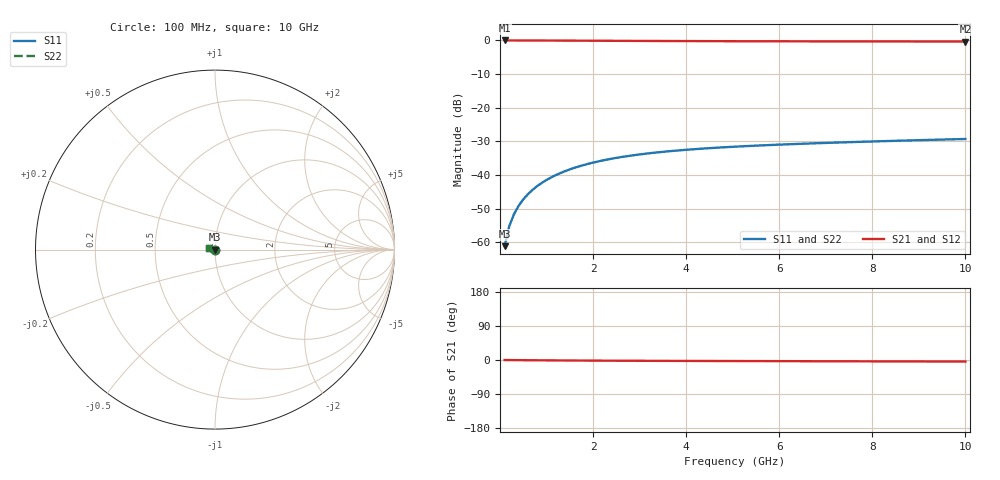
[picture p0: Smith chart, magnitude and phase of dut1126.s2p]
! Touchstone file exported from HFSS 2024.1.0
!  File:  C:/UserFiles/LocalFiles/RDL_TSV_Batchsim/temp_TSV1_1126_1780069667.aedt
!  Generated:  11:52:33 PM May 29, 2026
!  Design:  TSV1
!  Project:  temp_TSV1_1126_1780069667
!  Setup:  Setup1
!  Solution:  Sweep
! Variables:
!  dtsv = 9.59um
!  hbump = 3um
!  htsv = 60.8um
!  lrdl = 252.1521522um
!  p = 40
!  p1 = 53.12um
!  t = 500um
!  trdl = 3um
!  wrdl = 24.89489489um
# GHz S MA R 50.000000
! Terminal data exported
! Port[1] = TSV22_T1
! Port[2] = TSV22_T2
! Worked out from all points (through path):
!   100 points, 100 MHz to 10 GHz, reference 50 ohm
!   highest |S21| = 0.00 dB at 100 MHz (marker M1); lowest = -0.3 dB at 10 GHz (marker M2)
!   lowest |S11| = -61.1 dB at 100 MHz (marker M3), VSWR 1.00, Z = 50 - j0.0874 ohm
!   |S11| at or under -10 dB: start of sweep to end of sweep
!   |S22| runs from -61.1 to -29.3 dB; largest |S21 - S12| = 1e-14
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0.1  0.0008799 -83.2  0.9998 -0.1  0.9998 -0.1  0.0008799 -83.2
! Gamma 0 0 0 0
! Port Impedance 50 0 50 0
0.2  0.001749 -89.4  0.9997 -0.2  0.9997 -0.2  0.001749 -89.4
0.3  0.002621 -92.8  0.9996 -0.3  0.9996 -0.3  0.002621 -92.8
0.4  0.003488 -95.6  0.9993 -0.4  0.9993 -0.4  0.003488 -95.6
0.5  0.004348 -98.0  0.999 -0.5  0.999 -0.5  0.004348 -98.0
0.6  0.005197 -100.3  0.9987 -0.6  0.9987 -0.6  0.005197 -100.3
0.7  0.006035 -102.5  0.9983 -0.7  0.9983 -0.7  0.006035 -102.5
0.8  0.006859 -104.6  0.9979 -0.8  0.9979 -0.8  0.006859 -104.6
0.9  0.007668 -106.6  0.9974 -0.8  0.9974 -0.8  0.007668 -106.6
1.1  0.009235 -110.6  0.9964 -1.0  0.9964 -1.0  0.009235 -110.6
1.4  0.01145 -116.2  0.9945 -1.2  0.9945 -1.2  0.01145 -116.2
1.6  0.01282 -119.8  0.9932 -1.4  0.9932 -1.4  0.01282 -119.8
1.8  0.01412 -123.2  0.9918 -1.5  0.9918 -1.5  0.01412 -123.2
2.1  0.01591 -128.1  0.9897 -1.7  0.9897 -1.7  0.01591 -128.1
2.5  0.01802 -134.1  0.987 -1.9  0.987 -1.9  0.01802 -134.1
2.9  0.01985 -139.6  0.9844 -2.1  0.9844 -2.1  0.01985 -139.6
3.4  0.0218 -145.9  0.9814 -2.3  0.9814 -2.3  0.0218 -145.9
4.2  0.02432 -154.6  0.9774 -2.5  0.9774 -2.5  0.02432 -154.6
5.1  0.02654 -162.9  0.9738 -2.8  0.9738 -2.8  0.02654 -162.9
6.7  0.02957 -175.0  0.9694 -3.2  0.9694 -3.2  0.02957 -175.0
8.4  0.03217 174.7  0.9663 -3.7  0.9663 -3.7  0.03217 174.7
10  0.0344 166.6  0.9644 -4.1  0.9644 -4.1  0.0344 166.6
